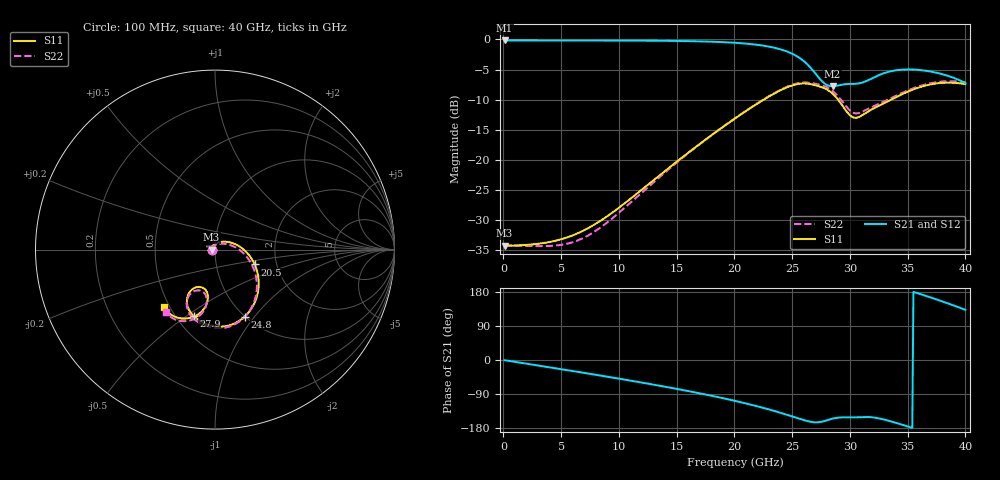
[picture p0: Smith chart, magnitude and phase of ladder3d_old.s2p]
# Hz S RI R 50
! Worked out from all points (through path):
!   400 points, 100 MHz to 40 GHz, reference 50 ohm
!   highest |S21| = -0.17 dB at 100 MHz (marker M1); lowest = -7.8 dB at 28.5 GHz (marker M2)
!   group delay of S21, straight-line fit = 14.9 ps
!   lowest |S11| = -34.3 dB at 100 MHz (marker M3), VSWR 1.04, Z = 48.1 + j0.03 ohm
!   |S11| at or under -10 dB: start of sweep to 22.55 GHz; 28.97 GHz to 33.56 GHz (4.594 GHz wide, 14.7 % of centre)
!   |S22| runs from -34.4 to -6.9 dB; largest |S21 - S12| = 0
!   S11 on the Smith chart (normalised r, x): 100 MHz: 0.96, +0.00; 20.5 GHz: 1.54, -0.27; 24.8 GHz: 1.00, -0.89; 27.9 GHz: 0.61, -0.53; 40 GHz: 0.47, -0.36
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1e8  -0.0193 0.000312  0.9807 -0.00824  0.9807 -0.00824  -0.0193 0.00031
3.9e9  -0.0161 0.0129  0.928 -0.3166  0.928 -0.3166  -0.0147 0.0123
6.8e9  -0.00752 0.0243  0.8214 -0.5347  0.8214 -0.5347  -0.00386 0.0218
1e10  0.0137 0.0375  0.6395 -0.7409  0.6395 -0.7409  0.0195 0.0306
1.34e10  0.0577 0.044  0.3775 -0.899  0.3775 -0.899  0.0632 0.0307
1.7e10  0.134 0.019  0.0342 -0.9632  0.0342 -0.9632  0.1348 -0.000502
2.01e10  0.2123 -0.0653  -0.2925 -0.8906  -0.2925 -0.8906  0.206 -0.0853
2.05e10  0.2209 -0.0827  -0.3342 -0.8696  -0.3342 -0.8696  0.2138 -0.1024
2.27e10  0.2425 -0.2131  -0.5431 -0.6945  -0.5431 -0.6945  0.2322 -0.2278
2.48e10  0.1654 -0.3734  -0.6509 -0.4232  -0.6509 -0.4232  0.1587 -0.3818
2.58e10  0.073 -0.4238  -0.6289 -0.2715  -0.6289 -0.2715  0.0713 -0.4316
2.67e10  -0.0214 -0.4229  -0.5438 -0.1599  -0.5438 -0.1599  -0.0188 -0.4337
2.79e10  -0.1196 -0.3693  -0.3991 -0.1443  -0.3991 -0.1443  -0.1162 -0.3874
2.85e10  -0.1517 -0.3203  -0.3685 -0.175  -0.3685 -0.175  -0.1507 -0.3417
2.95e10  -0.1375 -0.2309  -0.3718 -0.203  -0.3718 -0.203  -0.1436 -0.2536
3.05e10  -0.0713 -0.211  -0.375 -0.2059  -0.375 -0.2059  -0.0816 -0.2283
3.22e10  -0.0398 -0.2688  -0.4335 -0.2274  -0.4335 -0.2274  -0.0462 -0.2789
3.34e10  -0.0483 -0.3068  -0.5096 -0.1786  -0.5096 -0.1786  -0.0505 -0.3156
3.5e10  -0.0881 -0.357  -0.5615 -0.0458  -0.5615 -0.0458  -0.0848 -0.3667
3.65e10  -0.153 -0.383  -0.542 0.0957  -0.542 0.0957  -0.1451 -0.3961
3.84e10  -0.2407 -0.3651  -0.4354 0.2482  -0.4354 0.2482  -0.2298 -0.3858
4e10  -0.2822 -0.3183  -0.2927 0.3207  -0.2927 0.3207  -0.273 -0.3457
